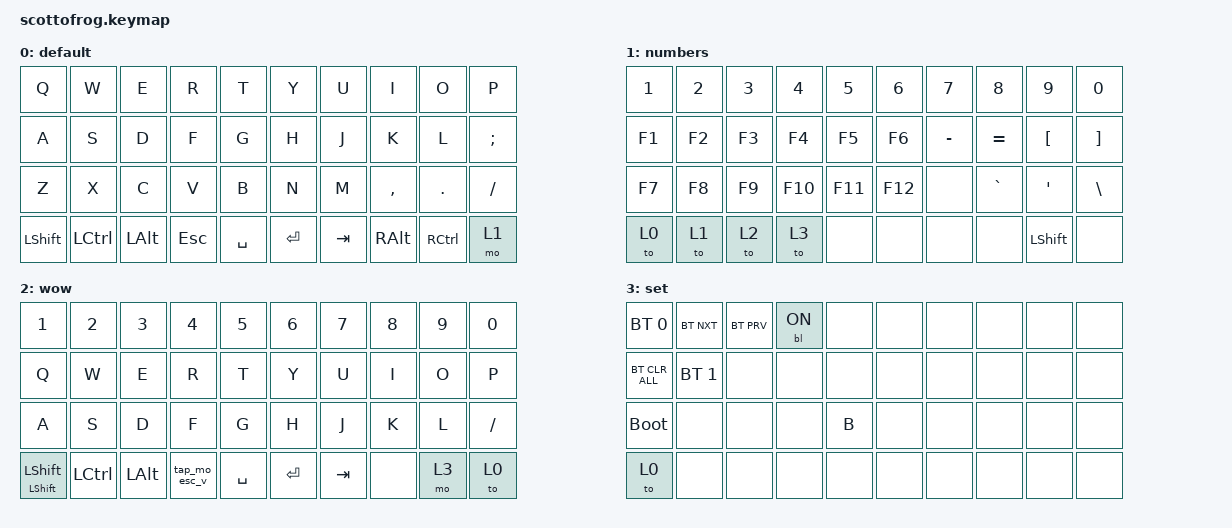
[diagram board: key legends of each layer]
#include <behaviors.dtsi>
#include <dt-bindings/zmk/backlight.h>
#include <dt-bindings/zmk/bt.h>
#include <dt-bindings/zmk/keys.h>

#define DEFAULT 0
#define NUMBER 1
#define SYMBOL 2
#define SETTINGS 3
#define COMBO_TIMEOUT 50

/ {
    combos {
        compatible = "zmk,combos";

        // Meta combos

        meta_settings_combo {
            timeout-ms = <50>;
            key-positions = <39 38>;
            bindings = <&tog 1>;
        };

        // Letter combos

        backspc {
            bindings = <&kp BACKSPACE>;
            key-positions = <34 35>;
            layers = <0>;
        };

        ent {
            bindings = <&kp ENTER>;
            key-positions = <33 34>;
            layers = <0>;
        };

        gui {
            bindings = <&kp LEFT_GUI>;
            key-positions = <30 31 32>;
            layers = <0>;
        };

        bcs {
            bindings = <&kp BACKSPACE>;
            key-positions = <34 35>;
            layers = <0 2>;
        };

        btset0 {
            bindings = <&tog 3>;
            key-positions = <0 1 2 7 8 9>;
            layers = <0 2 3>;
        };

        to-default {
            bindings = <&tog 0>;
            key-positions = <30 31 32 37 38 39>;
            layers = <1 2 3>;
        };
    };

    behaviors {
        mod0_tsp: mod0_tsp {
            compatible = "zmk,behavior-hold-tap";
            label = "MOD0_TSP";
            bindings = <&lt>, <&mo>;

            #binding-cells = <2>;
            tapping-term-ms = <10>;
            flavor = "tap-preferred";
        };

        tap_mo_esc_v: tap_mo_esc_v {
            compatible = "zmk,behavior-tap-dance";
            label = "TAP_MO_ESC_V";
            #binding-cells = <0>;
            tapping-term-ms = <100>;
            bindings = <&kp ESCAPE>, <&kp V>;
        };

        tap_shift: tap_shift {
            compatible = "zmk,behavior-hold-tap";
            label = "TAP_SHIFT";
            bindings = <&kp>, <&sk>;

            #binding-cells = <2>;
            tapping-term-ms = <100>;
            quick-tap-ms = <20>;
            flavor = "balanced";
        };
    };

    keymap {
        compatible = "zmk,keymap";

        default {
            bindings = <
&kp Q      &kp W      &kp E     &kp R    &kp T      &kp Y      &kp U    &kp I      &kp O      &kp P
&kp A      &kp S      &kp D     &kp F    &kp G      &kp H      &kp J    &kp K      &kp L      &kp SEMI
&kp Z      &kp X      &kp C     &kp V    &kp B      &kp N      &kp M    &kp COMMA  &kp DOT    &kp SLASH
&kp LSHFT  &kp LCTRL  &kp LALT  &kp ESC  &kp SPACE  &kp ENTER  &kp TAB  &kp RALT   &kp RCTRL  &mo 1
            >;
        };

        numbers {
            bindings = <
&kp N1  &kp N2  &kp N3  &kp N4   &kp N5   &kp N6   &kp N7     &kp N8     &kp N9            &kp N0
&kp F1  &kp F2  &kp F3  &kp F4   &kp F5   &kp F6   &kp MINUS  &kp EQUAL  &kp LEFT_BRACKET  &kp RIGHT_BRACKET
&kp F7  &kp F8  &kp F9  &kp F10  &kp F11  &kp F12  &none      &kp GRAVE  &kp SQT           &kp BACKSLASH
&to 0   &to 1   &to 2   &to 3    &none    &none    &none      &none      &kp LEFT_SHIFT    &none
            >;
        };

        wow {
            bindings = <
&kp N1                            &kp N2            &kp N3        &kp N4         &kp N5     &kp N6   &kp N7   &kp N8  &kp N9  &kp N0
&kp Q                             &kp W             &kp E         &kp R          &kp T      &kp Y    &kp U    &kp I   &kp O   &kp P
&kp A                             &kp S             &kp D         &kp F          &kp G      &kp H    &kp J    &kp K   &kp L   &kp FSLH
&tap_shift LEFT_SHIFT LEFT_SHIFT  &kp LEFT_CONTROL  &kp LEFT_ALT  &tap_mo_esc_v  &kp SPACE  &kp RET  &kp TAB  &none   &mo 3   &to 0
            >;
        };

        set {
            bindings = <
&bt BT_SEL 0    &bt BT_NXT    &bt BT_PRV  &bl BL_ON  &none  &none  &none  &none  &none  &none
&bt BT_CLR_ALL  &bt BT_SEL 1  &none       &none      &none  &none  &none  &none  &none  &none
&bootloader     &none         &none       &none      &kp B  &none  &none  &none  &none  &none
&to 0           &none         &none       &none      &none  &none  &none  &none  &none  &none
            >;
        };
    };
};
